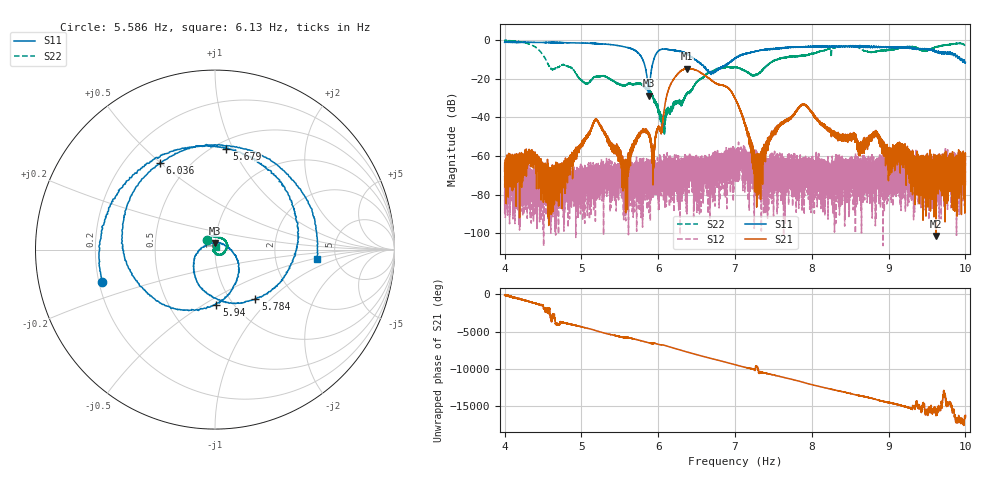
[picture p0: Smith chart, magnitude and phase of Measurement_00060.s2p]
!Created with skrf (http://scikit-rf.org).
# Hz S RI R 50.0
!freq ReS11 ImS11 ReS21 ImS21 ReS12 ImS12 ReS22 ImS22
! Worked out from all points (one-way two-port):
!   14001 points, 4 Hz to 10 Hz, reference 50 ohm
!   highest |S21| = -14.74 dB at 6.369 Hz (marker M1); lowest = -101.4 dB at 9.617 Hz (marker M2)
!   lowest |S11| = -28.7 dB at 5.878 Hz (marker M3), VSWR 1.08, Z = 50 + j3.69 ohm
!   |S11| at or under -10 dB: 5.798 Hz to 5.943 Hz (144.8 mHz wide, 2.47 % of centre); 6.476 Hz to 6.981 Hz (505.7 mHz wide, 7.52 % of centre); 9.955239 Hz to end of sweep (the widest 3 of 6)
!   |S22| runs from -48.6 to -0.2 dB; largest |S21 - S12| = 0.18
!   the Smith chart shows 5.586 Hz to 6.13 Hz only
!   S11 on the Smith chart (normalised r, x): 5.586 Hz: 0.21, -0.13; 5.679 Hz: 0.57, +0.94; 5.784 Hz: 1.29, -0.81; 5.94 Hz: 0.84, -0.57; 6.036 Hz: 0.35, +0.50; 6.13 Hz: 3.57, -0.54
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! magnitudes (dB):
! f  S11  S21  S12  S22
! 4 Hz  -1.1  -67.8  -70.5  -0.3
! 4.336 Hz  -1.1  -57.7  -70.3  -2.3
! 4.604 Hz  -1.3  -77.2  -69.2  -14.7
! 5 Hz  -1.5  -53.6  -70.2  -20.7
! 5.201 Hz  -1.8  -41.3  -70.2  -18.9
! 5.586 Hz  -3.7  -71.0  -75.0  -23.0
! 5.679 Hz  -4.9  -54.6  -68.4  -23.2
! 5.784 Hz  -9.0  -47.2  -72.5  -22.5
! 5.878 Hz  -28.7  -49.4  -65.8  -26.0
! 5.94 Hz  -10.3  -65.1  -66.1  -30.5
! 6 Hz  -5.7  -45.5  -74.8  -35.8
! 6.036 Hz  -4.9  -47.4  -62.2  -40.9
! 6.13 Hz  -4.9  -26.1  -63.4  -36.5
! 6.369 Hz  -7.0  -14.7  -64.3  -27.7
! 6.692 Hz  -17.3  -20.7  -69.3  -16.2
! 7 Hz  -9.5  -30.1  -63.6  -14.0
! 7.298 Hz  -5.5  -59.5  -64.5  -17.6
! 7.579 Hz  -4.5  -44.7  -63.5  -9.6
! 8 Hz  -3.5  -37.1  -71.2  -6.9
! 9 Hz  -3.8  -58.7  -64.5  -5.0
! 9.617 Hz  -5.5  -101.4  -63.6  -3.5
! 10 Hz  -11.5  -74.8  -64.1  -3.0
